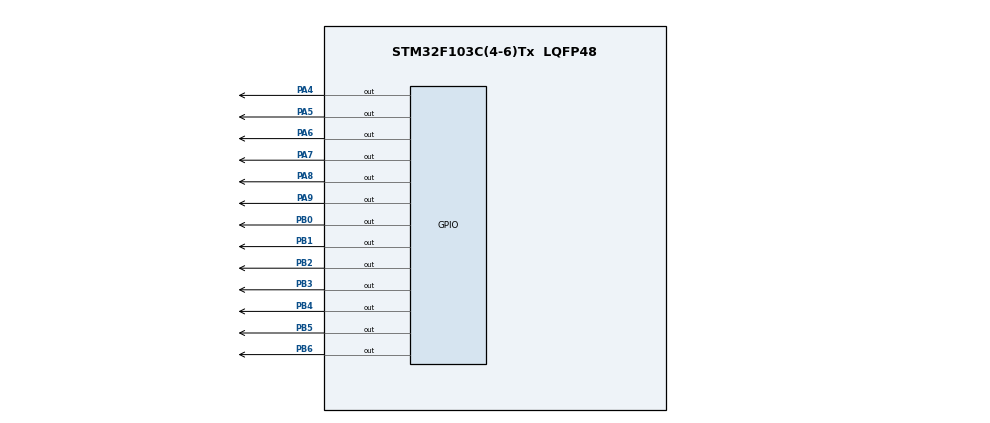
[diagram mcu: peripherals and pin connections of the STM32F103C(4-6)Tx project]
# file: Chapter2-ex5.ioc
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Mcu.Family=STM32F1
Mcu.Name=STM32F103C(4-6)Tx
Mcu.Package=LQFP48
NVIC.PriorityGroup=NVIC_PRIORITYGROUP_4
NVIC.TIM2_IRQn=true\:0\:0\:false\:false\:true\:true\:true
PA4.Signal=GPIO_Output
PA5.Signal=GPIO_Output
PA6.Signal=GPIO_Output
PA7.Signal=GPIO_Output
PA8.Signal=GPIO_Output
PA9.Signal=GPIO_Output
PB0.Signal=GPIO_Output
PB1.Signal=GPIO_Output
PB2.Signal=GPIO_Output
PB3.Signal=GPIO_Output
PB4.Signal=GPIO_Output
PB5.Signal=GPIO_Output
PB6.Signal=GPIO_Output
ProjectManager.HeapSize=0x200
ProjectManager.StackSize=0x400
ProjectManager.TargetToolchain=STM32CubeIDE
RCC.APB1Freq_Value=8000000
RCC.APB2Freq_Value=8000000
TIM2.AutoReloadPreload=TIM_AUTORELOAD_PRELOAD_ENABLE
TIM2.Period=9
TIM2.Prescaler=7999
VP_SYS_VS_ND.Mode=No_Debug
VP_TIM2_VS_ClockSourceINT.Mode=Internal
board=custom

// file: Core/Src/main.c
/* USER CODE BEGIN Header */
/**
  ******************************************************************************
  * @file           : main.c
  * @brief          : Main program body
  ******************************************************************************
  * @attention
  *
  * <h2><center>&copy; Copyright (c) 2021 STMicroelectronics.
  * All rights reserved.</center></h2>
  *
  * This software component is licensed by ST under BSD 3-Clause license,
  * the "License"; You may not use this file except in compliance with the
  * License. You may obtain a copy of the License at:
  *                        opensource.org/licenses/BSD-3-Clause
  *
  ******************************************************************************
  */
/* USER CODE END Header */
#include "main.h"

TIM_HandleTypeDef htim2;

/* USER CODE BEGIN PV */
int mil_1000 = 1;
int mil_500 = 1;

const int MAX_LED = 4;
int index_led = 0;
int led_buffer [4] = {0, 0, 0, 0};

int hour = 15, minute = 8, second = 50;
/* USER CODE END PV */

void SystemClock_Config(void);
static void MX_TIM2_Init(void);
static void MX_GPIO_Init(void);

/* USER CODE BEGIN PFP */
void update7SEG(int);
void updateClockBuffer(void);
void display7SEG(int);
/* USER CODE END PFP */

int main(void)
{

  /* MCU Configuration--------------------------------------------------------*/

  /* Reset of all peripherals, Initializes the Flash interface and the Systick. */
  HAL_Init();

  /* Configure the system clock */
  SystemClock_Config();

  /* Initialize all configured peripherals */
  MX_TIM2_Init();
  MX_GPIO_Init();
  /* USER CODE BEGIN 2 */
  HAL_TIM_Base_Start_IT(&htim2);
  /* USER CODE END 2 */

  /* Infinite loop */
  /* USER CODE BEGIN WHILE */

  while (1)
  {
	  second++;
	  if(second >= 60) {
		  second = 0;
		  minute++;
	  }
	  if(minute >= 60) {
		  minute = 0;
		  hour++;
	  }
	  if(hour >= 24) {
		  hour = 0;
	  }
	  updateClockBuffer();
	  HAL_Delay(1000);
    /* USER CODE END WHILE */

  }
}

void SystemClock_Config(void)
{
  RCC_OscInitTypeDef RCC_OscInitStruct = {0};
  RCC_ClkInitTypeDef RCC_ClkInitStruct = {0};

  /** Initializes the RCC Oscillators according to the specified parameters
  * in the RCC_OscInitTypeDef structure.
  */
  RCC_OscInitStruct.OscillatorType = RCC_OSCILLATORTYPE_HSI;
  RCC_OscInitStruct.HSIState = RCC_HSI_ON;
  RCC_OscInitStruct.HSICalibrationValue = RCC_HSICALIBRATION_DEFAULT;
  RCC_OscInitStruct.PLL.PLLState = RCC_PLL_NONE;
  if (HAL_RCC_OscConfig(&RCC_OscInitStruct) != HAL_OK)
  {
    Error_Handler();
  }
  /** Initializes the CPU, AHB and APB buses clocks
  */
  RCC_ClkInitStruct.ClockType = RCC_CLOCKTYPE_HCLK|RCC_CLOCKTYPE_SYSCLK
                              |RCC_CLOCKTYPE_PCLK1|RCC_CLOCKTYPE_PCLK2;
  RCC_ClkInitStruct.SYSCLKSource = RCC_SYSCLKSOURCE_HSI;
  RCC_ClkInitStruct.AHBCLKDivider = RCC_SYSCLK_DIV1;
  RCC_ClkInitStruct.APB1CLKDivider = RCC_HCLK_DIV1;
  RCC_ClkInitStruct.APB2CLKDivider = RCC_HCLK_DIV1;

  if (HAL_RCC_ClockConfig(&RCC_ClkInitStruct, FLASH_LATENCY_0) != HAL_OK)
  {
    Error_Handler();
  }
}

static void MX_TIM2_Init(void)
{

  TIM_ClockConfigTypeDef sClockSourceConfig = {0};
  TIM_MasterConfigTypeDef sMasterConfig = {0};

  htim2.Instance = TIM2;
  htim2.Init.Prescaler = 7999;
  htim2.Init.CounterMode = TIM_COUNTERMODE_UP;
  htim2.Init.Period = 9;
  htim2.Init.ClockDivision = TIM_CLOCKDIVISION_DIV1;
  htim2.Init.AutoReloadPreload = TIM_AUTORELOAD_PRELOAD_ENABLE;
  if (HAL_TIM_Base_Init(&htim2) != HAL_OK)
  {
    Error_Handler();
  }
  sClockSourceConfig.ClockSource = TIM_CLOCKSOURCE_INTERNAL;
  if (HAL_TIM_ConfigClockSource(&htim2, &sClockSourceConfig) != HAL_OK)
  {
    Error_Handler();
  }
  sMasterConfig.MasterOutputTrigger = TIM_TRGO_RESET;
  sMasterConfig.MasterSlaveMode = TIM_MASTERSLAVEMODE_DISABLE;
  if (HAL_TIMEx_MasterConfigSynchronization(&htim2, &sMasterConfig) != HAL_OK)
  {
    Error_Handler();
  }

}

static void MX_GPIO_Init(void)
{
  GPIO_InitTypeDef GPIO_InitStruct = {0};

  /* GPIO Ports Clock Enable */
  __HAL_RCC_GPIOA_CLK_ENABLE();
  __HAL_RCC_GPIOB_CLK_ENABLE();

  /*Configure GPIO pin Output Level */
  HAL_GPIO_WritePin(GPIOA, GPIO_PIN_4|GPIO_PIN_5|GPIO_PIN_6|GPIO_PIN_7
                          |GPIO_PIN_8|GPIO_PIN_9, GPIO_PIN_RESET);

  /*Configure GPIO pin Output Level */
  HAL_GPIO_WritePin(GPIOB, GPIO_PIN_0|GPIO_PIN_1|GPIO_PIN_2|GPIO_PIN_3
                          |GPIO_PIN_4|GPIO_PIN_5|GPIO_PIN_6, GPIO_PIN_RESET);

  /*Configure GPIO pins : PA4 PA5 PA6 PA7
                           PA8 PA9 */
  GPIO_InitStruct.Pin = GPIO_PIN_4|GPIO_PIN_5|GPIO_PIN_6|GPIO_PIN_7
                          |GPIO_PIN_8|GPIO_PIN_9;
  GPIO_InitStruct.Mode = GPIO_MODE_OUTPUT_PP;
  GPIO_InitStruct.Pull = GPIO_NOPULL;
  GPIO_InitStruct.Speed = GPIO_SPEED_FREQ_LOW;
  HAL_GPIO_Init(GPIOA, &GPIO_InitStruct);

  /*Configure GPIO pins : PB0 PB1 PB2 PB3
                           PB4 PB5 PB6 */
  GPIO_InitStruct.Pin = GPIO_PIN_0|GPIO_PIN_1|GPIO_PIN_2|GPIO_PIN_3
                          |GPIO_PIN_4|GPIO_PIN_5|GPIO_PIN_6;
  GPIO_InitStruct.Mode = GPIO_MODE_OUTPUT_PP;
  GPIO_InitStruct.Pull = GPIO_NOPULL;
  GPIO_InitStruct.Speed = GPIO_SPEED_FREQ_LOW;
  HAL_GPIO_Init(GPIOB, &GPIO_InitStruct);

}

/* USER CODE BEGIN 4 */
void display7SEG(int num) {

	HAL_GPIO_WritePin(SEG_PORT, SEG0 | SEG1 | SEG2 | SEG3 | SEG4 | SEG5 | SEG6, 1);
		switch(num) {
		case 0:
			HAL_GPIO_WritePin(SEG_PORT, SEG0 | SEG1 | SEG2 | SEG3 | SEG4 | SEG5, 0);
			break;
		case 1:
			HAL_GPIO_WritePin(SEG_PORT, SEG1 | SEG2, 0);
			break;
		case 2:
			HAL_GPIO_WritePin(SEG_PORT, SEG0 | SEG1 | SEG3 | SEG4 | SEG6, 0);
			break;
		case 3:
			HAL_GPIO_WritePin(SEG_PORT, SEG0 | SEG1 | SEG2 | SEG3 | SEG6, 0);
			break;
		case 4:
			HAL_GPIO_WritePin(SEG_PORT, SEG1 | SEG2 | SEG5 | SEG6, 0);
			break;
		case 5:
			HAL_GPIO_WritePin(SEG_PORT, SEG0 | SEG2 | SEG3 | SEG5 | SEG6, 0);
			break;
		case 6:
			HAL_GPIO_WritePin(SEG_PORT, SEG0 | SEG2 | SEG3 | SEG4 | SEG5 | SEG6, 0);
			break;
		case 7:
			HAL_GPIO_WritePin(SEG_PORT, SEG0 | SEG1 | SEG2, 0);
			break;
		case 8:
			HAL_GPIO_WritePin(SEG_PORT, SEG0 | SEG1 | SEG2 | SEG3 | SEG4 | SEG5 | SEG6, 0);
			break;
		case 9:
			HAL_GPIO_WritePin(SEG_PORT, SEG0 | SEG1 | SEG2 | SEG3 | SEG5 | SEG6, 0);
			break;
		}
}

void update7SEG(int index) {
	HAL_GPIO_WritePin(EN_PORT, EN0 | EN1 | EN2 | EN3, 1);
	display7SEG(led_buffer[index]);

	switch(index) {
	case 0:
		HAL_GPIO_WritePin(EN_PORT, EN0, 0);
		break;
	case 1:
		HAL_GPIO_WritePin(EN_PORT, EN1, 0);
		break;
	case 2:
		HAL_GPIO_WritePin(EN_PORT, EN2, 0);
		break;
	case 3:
		HAL_GPIO_WritePin(EN_PORT, EN3, 0);
		break;
	default:
		break;
	}
}

void updateClockBuffer() {
	led_buffer[0] = hour / 10;
	led_buffer[1] = hour % 10;
	led_buffer[2] = minute / 10;
	led_buffer[3] = minute % 10;
}

void HAL_TIM_PeriodElapsedCallback(TIM_HandleTypeDef*htim) {
	mil_1000--; mil_500--;

	if(mil_500 == 0) {
		mil_500 = 50;

		update7SEG(index_led++);
		if(index_led == MAX_LED) index_led = 0;
	}
	if(mil_1000 == 0) {
		mil_1000 = 100;
		HAL_GPIO_TogglePin(DOT_PORT, DOT);
		HAL_GPIO_TogglePin(RLED_PORT, RLED1);
	}
}
/* USER CODE END 4 */

void Error_Handler(void)
{
  __disable_irq();
  while (1)
  {
  }
}

/************************ (C) COPYRIGHT STMicroelectronics *****END OF FILE****/
